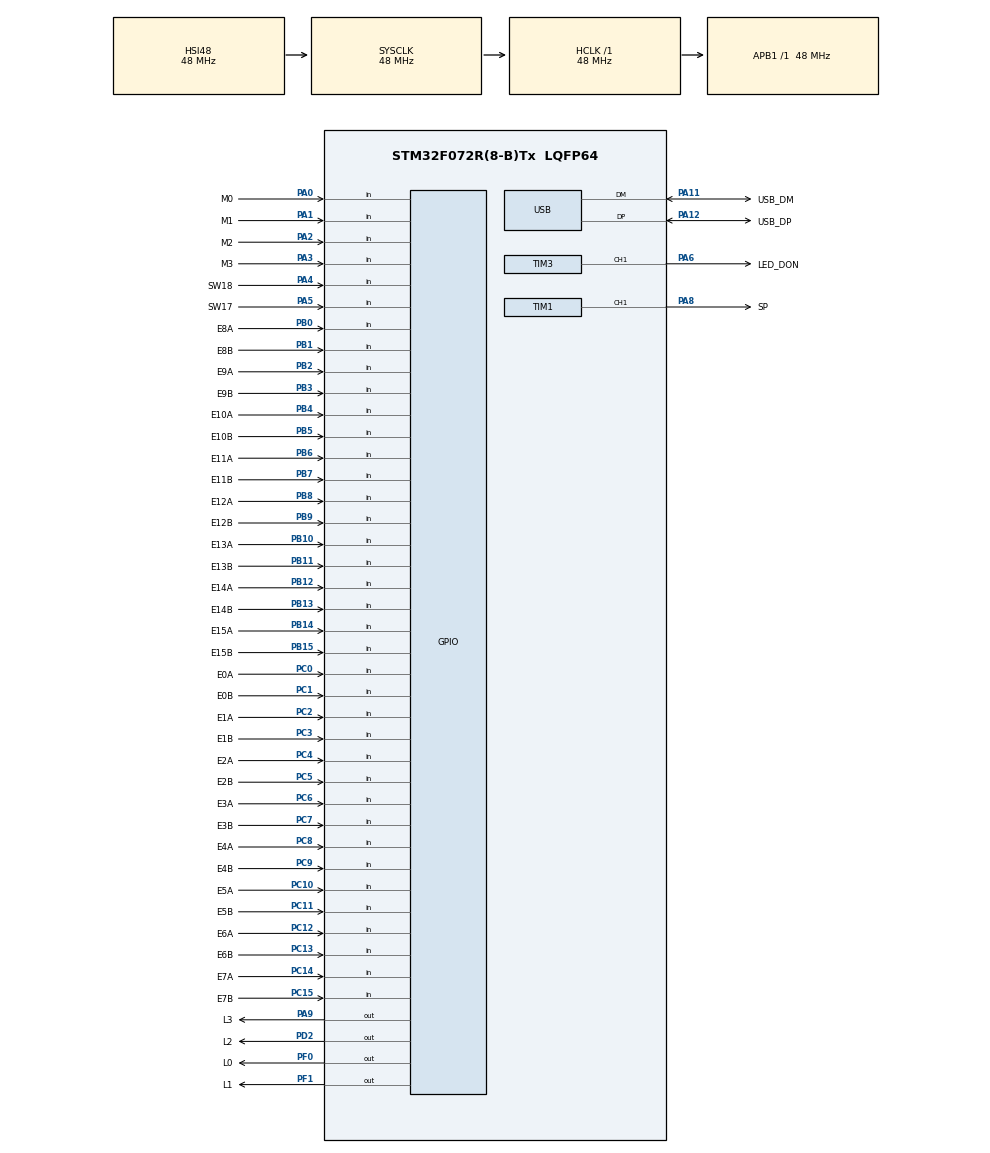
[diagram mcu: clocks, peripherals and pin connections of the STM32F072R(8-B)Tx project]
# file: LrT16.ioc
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Dma.Request0=TIM3_CH1/TRIG
Dma.TIM3_CH1/TRIG.0.Direction=DMA_MEMORY_TO_PERIPH
Dma.TIM3_CH1/TRIG.0.Instance=DMA1_Channel6
Dma.TIM3_CH1/TRIG.0.MemDataAlignment=DMA_MDATAALIGN_HALFWORD
Dma.TIM3_CH1/TRIG.0.MemInc=DMA_MINC_ENABLE
Dma.TIM3_CH1/TRIG.0.Mode=DMA_NORMAL
Dma.TIM3_CH1/TRIG.0.PeriphDataAlignment=DMA_PDATAALIGN_HALFWORD
Dma.TIM3_CH1/TRIG.0.PeriphInc=DMA_PINC_DISABLE
Dma.TIM3_CH1/TRIG.0.Priority=DMA_PRIORITY_LOW
Mcu.Family=STM32F0
Mcu.Name=STM32F072R(8-B)Tx
Mcu.Package=LQFP64
Mcu.UserConstants=TIM_PERIOD_NPIX,279;Lr_PRODUCT,"LrT16";PWM_HI,38;TIM_PERIOD_RGBLED,24576;PWM_LO,15;PWM_PERIOD,59;Lr_PID,0xB747;TIM_PERIOD_ENC,1600;TIM_PRESC_100uS,4799;Lr_VENDOR,"Ruffles Inc.";TIM_PRESC_1uS,47;TIM_PERIOD_MATRIX,7999;TIM_PERIOD_OLED,32767;TIM_PERIOD_SPEAKER,370; TIM_SPEAKER_PULSE_WIDTH,185
NVIC.DMA1_Channel4_5_6_7_IRQn=true\:0\:0\:false\:false\:true\:false\:true\:true
NVIC.TIM2_IRQn=true\:0\:0\:false\:false\:true\:true\:true\:true
NVIC.TIM6_DAC_IRQn=true\:0\:0\:false\:false\:true\:true\:true\:true
NVIC.TIM7_IRQn=true\:0\:0\:false\:false\:true\:true\:true\:true
NVIC.USB_IRQn=true\:0\:0\:false\:false\:true\:false\:true\:true
PA0.GPIO_Label=M0
PA0.Signal=GPIO_Input
PA1.GPIO_Label=M1
PA1.Signal=GPIO_Input
PA11.GPIO_Label=USB_DM
PA11.Mode=Device
PA11.Signal=USB_DM
PA12.GPIO_Label=USB_DP
PA12.Mode=Device
PA12.Signal=USB_DP
PA13.GPIO_Label=SWDIO
PA13.Mode=Serial_Wire
PA13.Signal=SYS_SWDIO
PA14.GPIO_Label=SWCLK
PA14.Mode=Serial_Wire
PA14.Signal=SYS_SWCLK
PA2.GPIO_Label=M2
PA2.Signal=GPIO_Input
PA3.GPIO_Label=M3
PA3.Signal=GPIO_Input
PA4.GPIO_Label=SW18
PA4.Signal=GPIO_Input
PA5.GPIO_Label=SW17
PA5.Signal=GPIO_Input
PA6.GPIO_Label=LED_DON
PA6.Signal=S_TIM3_CH1
PA8.GPIO_Label=SP
PA8.Signal=S_TIM1_CH1
PA9.GPIO_Label=L3
PA9.Signal=GPIO_Output
PB0.GPIO_Label=E8A
PB0.Signal=GPIO_Input
PB1.GPIO_Label=E8B
PB1.Signal=GPIO_Input
PB10.GPIO_Label=E13A
PB10.Signal=GPIO_Input
PB11.GPIO_Label=E13B
PB11.Signal=GPIO_Input
PB12.GPIO_Label=E14A
PB12.Signal=GPIO_Input
PB13.GPIO_Label=E14B
PB13.Signal=GPIO_Input
PB14.GPIO_Label=E15A
PB14.Signal=GPIO_Input
PB15.GPIO_Label=E15B
PB15.Signal=GPIO_Input
PB2.GPIO_Label=E9A
PB2.Signal=GPIO_Input
PB3.GPIO_Label=E9B
PB3.Signal=GPIO_Input
PB4.GPIO_Label=E10A
PB4.Signal=GPIO_Input
PB5.GPIO_Label=E10B
PB5.Signal=GPIO_Input
PB6.GPIO_Label=E11A
PB6.Signal=GPIO_Input
PB7.GPIO_Label=E11B
PB7.Signal=GPIO_Input
PB8.GPIO_Label=E12A
PB8.Signal=GPIO_Input
PB9.GPIO_Label=E12B
PB9.Signal=GPIO_Input
PC0.GPIO_Label=E0A
PC0.Signal=GPIO_Input
PC1.GPIO_Label=E0B
PC1.Signal=GPIO_Input
PC10.GPIO_Label=E5A
PC10.Signal=GPIO_Input
PC11.GPIO_Label=E5B
PC11.Signal=GPIO_Input
PC12.GPIO_Label=E6A
PC12.Signal=GPIO_Input
PC13.GPIO_Label=E6B
PC13.Signal=GPIO_Input
PC14-OSC32_IN.GPIO_Label=E7A
PC14-OSC32_IN.Signal=GPIO_Input
PC15-OSC32_OUT.GPIO_Label=E7B
PC15-OSC32_OUT.Signal=GPIO_Input
PC2.GPIO_Label=E1A
PC2.Signal=GPIO_Input
PC3.GPIO_Label=E1B
PC3.Signal=GPIO_Input
PC4.GPIO_Label=E2A
PC4.Signal=GPIO_Input
PC5.GPIO_Label=E2B
PC5.Signal=GPIO_Input
PC6.GPIO_Label=E3A
PC6.Signal=GPIO_Input
PC7.GPIO_Label=E3B
PC7.Signal=GPIO_Input
PC8.GPIO_Label=E4A
PC8.Signal=GPIO_Input
PC9.GPIO_Label=E4B
PC9.Signal=GPIO_Input
PD2.GPIO_Label=L2
PD2.Signal=GPIO_Output
PF0-OSC_IN.GPIO_Label=L0
PF0-OSC_IN.Signal=GPIO_Output
PF1-OSC_OUT.GPIO_Label=L1
PF1-OSC_OUT.Signal=GPIO_Output
ProjectManager.HeapSize=0x200
ProjectManager.StackSize=0x400
ProjectManager.TargetToolchain=STM32CubeIDE
RCC.AHBFreq_Value=48000000
RCC.APB1Freq_Value=48000000
RCC.APB1TimFreq_Value=48000000
RCC.FLatency=FLASH_LATENCY_1
RCC.HCLKFreq_Value=48000000
RCC.SYSCLKFreq_VALUE=48000000
RCC.SYSCLKSource=RCC_SYSCLKSOURCE_HSI48
SH.S_TIM1_CH1.0=TIM1_CH1,PWM Generation1 CH1
SH.S_TIM3_CH1.0=TIM3_CH1,PWM Generation1 CH1
TIM1.AutoReloadPreload=TIM_AUTORELOAD_PRELOAD_DISABLE
TIM1.Channel-PWM\ Generation1\ CH1=TIM_CHANNEL_1
TIM1.ClockDivision=TIM_CLOCKDIVISION_DIV1
TIM1.CounterMode=TIM_COUNTERMODE_UP
TIM1.Period=TIM_PERIOD_MATRIX
TIM1.Prescaler=TIM_PRESC_1uS
TIM1.RepetitionCounter=0
TIM1.TIM_MasterOutputTrigger=TIM_TRGO_RESET
TIM1.TIM_MasterSlaveMode=TIM_MASTERSLAVEMODE_DISABLE
TIM14.AutoReloadPreload=TIM_AUTORELOAD_PRELOAD_DISABLE
TIM14.ClockDivision=TIM_CLOCKDIVISION_DIV1
TIM14.CounterMode=TIM_COUNTERMODE_UP
TIM14.Period=TIM_PERIOD_NPIX
TIM14.Prescaler=TIM_PRESC_1uS
TIM2.AutoReloadPreload=TIM_AUTORELOAD_PRELOAD_DISABLE
TIM2.ClockDivision=TIM_CLOCKDIVISION_DIV1
TIM2.CounterMode=TIM_COUNTERMODE_UP
TIM2.Period=TIM_PERIOD_ENC
TIM2.Prescaler=TIM_PRESC_1uS
TIM2.TIM_MasterOutputTrigger=TIM_TRGO_RESET
TIM2.TIM_MasterSlaveMode=TIM_MASTERSLAVEMODE_DISABLE
TIM3.AutoReloadPreload=TIM_AUTORELOAD_PRELOAD_ENABLE
TIM3.Channel-PWM\ Generation1\ CH1=TIM_CHANNEL_1
TIM3.ClearInputSource=TIM_CLEARINPUTSOURCE_NONE
TIM3.ClockDivision=TIM_CLOCKDIVISION_DIV1
TIM3.CounterMode=TIM_COUNTERMODE_UP
TIM3.OC1Preload_PWM=ENABLE
TIM3.OCFastMode_PWM-PWM\ Generation1\ CH1=TIM_OCFAST_DISABLE
TIM3.OCMode_PWM-PWM\ Generation1\ CH1=TIM_OCMODE_PWM1
TIM3.OCPolarity_1=TIM_OCPOLARITY_LOW
TIM3.Period=PWM_PERIOD
TIM3.Prescaler=0
TIM3.Pulse-PWM\ Generation1\ CH1=0
TIM3.TIM_MasterOutputTrigger=TIM_TRGO_RESET
TIM3.TIM_MasterSlaveMode=TIM_MASTERSLAVEMODE_DISABLE
TIM6.AutoReloadPreload=TIM_AUTORELOAD_PRELOAD_DISABLE
TIM6.CounterMode=TIM_COUNTERMODE_UP
TIM6.Period=TIM_PERIOD_RGBLED
TIM6.Prescaler=TIM_PRESC_1uS
TIM6.TIM_MasterOutputTrigger=TIM_TRGO_RESET
TIM7.Period=TIM_PERIOD_ENC
TIM7.Prescaler=TIM_PRESC_1uS
USB.DeviceSpeed=PCD_SPEED_FULL
USB.low_power_enable=DISABLE
USB.lpm_enable=DISABLE
USB.phy_itface=PCD_PHY_EMBEDDED
USB_DEVICE.CLASS_NAME_FS=HID
USB_DEVICE.CONFIGURATION_STRING_HID_FS=MIDI Config
USB_DEVICE.HID_FS_BINTERVAL=0xA
USB_DEVICE.INTERFACE_STRING_HID_FS=MIDI Interface
USB_DEVICE.LANGID_STRING=1033
USB_DEVICE.MANUFACTURER_STRING=Lr_VENDOR
USB_DEVICE.PID_HID_FS=Lr_PID
USB_DEVICE.PRODUCT_STRING_HID_FS=Lr_PRODUCT
USB_DEVICE.USBD_DEBUG_LEVEL=0
USB_DEVICE.USBD_MAX_NUM_CONFIGURATION=1
USB_DEVICE.USBD_MAX_NUM_INTERFACES=1
USB_DEVICE.USBD_MAX_STR_DESC_SIZ=512
USB_DEVICE.USBD_SELF_POWERED=0
USB_DEVICE.USBD_SUPPORT_USER_STRING=0
USB_DEVICE.VID=1155
USB_DEVICE.VirtualMode=Hid
USB_DEVICE.VirtualModeFS=Hid_FS
VP_TIM14_VS_ClockSourceINT.Mode=Enable_Timer
VP_TIM1_VS_ClockSourceINT.Mode=Internal
VP_TIM2_VS_ClockSourceINT.Mode=Internal
VP_TIM3_VS_ClockSourceINT.Mode=Internal
VP_TIM6_VS_ClockSourceINT.Mode=Enable_Timer
VP_TIM7_VS_ClockSourceINT.Mode=Enable_Timer
VP_USB_DEVICE_VS_USB_DEVICE_HID_FS.Mode=HID_FS
board=custom

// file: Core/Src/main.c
/* USER CODE BEGIN Header */
/**
  ******************************************************************************
  * @file		main.c
  * @brief		Main program body
  * @author		remov-b4-flight
  * @copyright	3-Clause BSD License
  ******************************************************************************
  * @attention
  *
  * Copyright (c) 2026 STMicroelectronics.
  * All rights reserved.
  *
  * This software is licensed under terms that can be found in the LICENSE file
  * in the root directory of this software component.
  * If no LICENSE file comes with this software, it is provided AS-IS.
  *
  ******************************************************************************
  */
/* USER CODE END Header */
#include "main.h"
#include "usb_device.h"

/* USER CODE BEGIN Includes */
#include <stdbool.h>
#include "LrCommon.h"
#include "midi.h"
#include "led.h"
#include "speaker.h"
#include "bitcount.h"
#include "usbd_midi_if.h"
#include "EmulateMIDI.h"
#include "stm32f0xx_it.h"
#include "stm32f0xx_hal_dma.h"
/* USER CODE END Includes */

/* USER CODE BEGIN PM */
extern	uint8_t	LEDColor[LED_COUNT];
extern	uint8_t	LEDTimer[LED_COUNT];
extern	uint8_t SPEAKER_Timer;
extern	bool	SPEAKER_Timer_Enable;
/* USER CODE END PM */

TIM_HandleTypeDef htim1;
TIM_HandleTypeDef htim2;
TIM_HandleTypeDef htim3;
TIM_HandleTypeDef htim6;
TIM_HandleTypeDef htim7;
TIM_HandleTypeDef htim14;
DMA_HandleTypeDef hdma_tim3_ch1_trig;

/* USER CODE BEGIN PV */

//! STM32 TIM3 instance handle
TIM_HandleTypeDef htim3;
//! LrTMAX USB connection state
uint8_t	LrState;
//! LrTMAX Scene index
uint8_t	LrScene;
//! In key scanning whether Line selected to read for key matrix.
uint8_t	ENCSW_Line;
// OLED variables
//! Timer counter ticked by TIM6.
int32_t	Long_Timer_Count;
//! If true Msg_Timer counting is enabled.
bool	Long_Timer_Enable;
//! If true, Screen is cleared in main() that is determined on timer interrupt.
bool	Long_Timer_flag;
//! If true, frame_buffer[] contents flashes the screen.
static	bool	isRender;

//! LED variables
//! If true, LEDs are flashed by LEDColor[] array.
bool	isLEDsendpulse;
//! Flag is set by timer ISR, It makes LED_Timer[] count up in main()
bool	Soft_Timer_Update;

//! Scene time out
bool	isScene_Timeout;
//! LED patterns that set by switching scenes.
const uint8_t LED_Scene[SCENE_COUNT_MAX][LED_COUNT] = {
	//0			1			2			3			4			5			6			7
	{LED_BLUE,	LED_BLUE,	LED_BLUE,	LED_OFF,	LED_OFF,	LED_OFF,	LED_OFF,	LED_OFF	},	//Scene0(un-used)
	{LED_RED,	LED_BLUE,	LED_BLUE,	LED_OFF,	LED_OFF,	LED_OFF,	LED_OFF,	LED_OFF	},	//Scene1
	{LED_BLUE,	LED_RED,	LED_BLUE,	LED_OFF,	LED_OFF,	LED_OFF,	LED_OFF,	LED_OFF	},	//Scene2
	{LED_RED,	LED_RED,	LED_BLUE,	LED_OFF,	LED_OFF,	LED_OFF,	LED_OFF,	LED_OFF },	//Scene3
	{LED_BLUE,	LED_BLUE,	LED_RED,	LED_OFF,	LED_OFF,	LED_OFF,	LED_OFF,	LED_OFF	},	//Scene4
	{LED_RED,	LED_BLUE,	LED_RED,	LED_OFF,	LED_OFF,	LED_OFF,	LED_OFF,	LED_OFF	},	//Scene5
	{LED_BLUE,	LED_RED,	LED_RED,	LED_OFF,	LED_OFF,	LED_OFF,	LED_OFF,	LED_OFF },	//Scene6
	{LED_RED,	LED_RED,	LED_RED,	LED_OFF,	LED_OFF,	LED_OFF,	LED_OFF,	LED_OFF },	//Scene7
};

const uint16_t PlayTable[4] = {FREQ_D7, FREQ_E7, FREQ_F7, FREQ_G7};
/* USER CODE END PV */

void SystemClock_Config(void);
static void MX_GPIO_Init(void);
static void MX_DMA_Init(void);
static void MX_TIM3_Init(void);
static void MX_TIM1_Init(void);
static void MX_TIM14_Init(void);
static void MX_TIM6_Init(void);
static void MX_TIM2_Init(void);
static void MX_TIM7_Init(void);
/* USER CODE BEGIN PFP */
void Jump2SystemMemory();
/* USER CODE END PFP */

/* USER CODE BEGIN 0 */

/**
 *	@brief	Stop encoder scan
 */
static inline void Stop_All_Encoders() {
	HAL_TIM_Base_Stop_IT(&htim7);
}

/**
 * @brief	Start encoder scan by timer
 */
static inline void Start_All_Encoders() {
	ENC_Init();
	HAL_TIM_Base_Start_IT(&htim7);
}

/**
 * @brief Start OLED off timer
*/
void Start_LongTimer(uint32_t tick) {
	Long_Timer_flag = false;
	Long_Timer_Count = tick;
	Long_Timer_Enable = true;
}

/**
 * @brief start/stop matrix L0-L3 control
 * @param control Lr_MATRIX_START / Lr_MATRIX_STOP
 */
static void Matrix_Control(uint8_t control) {
	if (control == Lr_MATRIX_START) {
		MTRX_Init();
	}

	HAL_GPIO_WritePin(L0_GPIO_Port, L0_Pin, (control == Lr_MATRIX_START)? GPIO_PIN_SET : GPIO_PIN_RESET);
	HAL_GPIO_WritePin(L1_GPIO_Port, L1_Pin, GPIO_PIN_RESET);
	HAL_GPIO_WritePin(L2_GPIO_Port, L2_Pin, GPIO_PIN_RESET);
	HAL_GPIO_WritePin(L3_GPIO_Port, L3_Pin, GPIO_PIN_RESET);
	ENCSW_Line = L0;
}
/* USER CODE END 0 */

int main(void)
{

  /* USER CODE BEGIN 1 */
	//! Indicates 1st Msg_Timer timeout has occurred from power on reset.
	bool Msg_1st_timeout = true;
  /* USER CODE END 1 */

  /* MCU Configuration--------------------------------------------------------*/

  /* Reset of all peripherals, Initializes the Flash interface and the Systick. */
  HAL_Init();

  /* USER CODE BEGIN Init */
	Long_Timer_flag = false;
	Long_Timer_Enable = false;
	Long_Timer_Count = MSG_TIMER_DEFAULT;
	isRender = true;

	LrState = LR_RESET;
	LrScene = Lr_SCENE1;

	isLEDsendpulse = false;
	Soft_Timer_Update = false;
	isScene_Timeout = false;
  /* USER CODE END Init */

  /* Configure the system clock */
  SystemClock_Config();

  /* Initialize all configured peripherals */
  MX_GPIO_Init();
  MX_DMA_Init();
  MX_TIM3_Init();
  MX_TIM1_Init();
  MX_TIM14_Init();
/* USER CODE BEGIN MX_USB_Devive_Init LrTMAX*/
//  MX_USB_DEVICE_Init(); //must be delayed.
/* USER CODE END MX_USB_Devive_Init LrTMAX*/
  MX_TIM6_Init();
  MX_TIM2_Init();
  MX_TIM7_Init();
  /* USER CODE BEGIN 2 */
	// Set all LEDs to 'OFF'
	LED_Initialize();
	//
	SPEAKER_Initialize();
	// Stop All Encoders until USB link up
	Stop_All_Encoders();
	//Initialize Switch matrix
	Matrix_Control(Lr_MATRIX_STOP);		// Stop L0-L2

	// Initialize series of WS2812C
	GPIOA->PUPDR |= GPIO_PUPDR_PUPDR6_0;	// Pull up PA6 (WS2812C-2020 workaround)
	GPIOA->ODR |= GPIO_PIN_6;				//'RESET' state
	//AF -> GPIO
	GPIOA->MODER &= ~(GPIO_MODER_MODER6_1);
	GPIOA->MODER |=	GPIO_MODER_MODER6_0;

	// Set signal speed to SLOW for SPEAKER(PA8)
	GPIOA->OSPEEDR &= 0xFFF3FFFF;
  /* USER CODE END 2 */

  /* Infinite loop */
  /* USER CODE BEGIN WHILE */
	uint8_t	nc_count = 0;

	HAL_TIM_Base_Start_IT(&htim6);		//Start LED timer.
	Start_LongTimer(MSG_TIMER_DEFAULT);

	// Check SW17/PA5 and SW18/PA4 is pushed simultaneously at Power On
	uint16_t r = (~(GPIOA->IDR)) & BOOT_DFU_MASK;
	if (r == BOOT_DFU_MASK) { // MTD: define key combination
		LrState = LR_USB_DFU;
	} else {
		// MX_USB_DEVICE_Init() must be delayed until here for launch DFU.
		MX_USB_DEVICE_Init();
		LrState = LR_USB_NOLINK;
	}

	// Initialize CC Value table
	EmulateMIDI_Init();

	// LED Initialize
	LED_SetScene(LrScene);

	// Main loop
	while (1) {
		if (LrState == LR_USB_LINKUP) {
			// USB device configured by host

			Matrix_Control(Lr_MATRIX_START);	// Initialize L0-2.
			HAL_TIM_Base_Start_IT(&htim2);		// Start Switch matrix timer.
			Start_All_Encoders();				      // Start rotary encoder.

			// Show connection banner
			Start_LongTimer(MSG_TIMER_CONNECT);
			memcpy(LEDColor, LED_Scene[LrScene], LED_COUNT);

			uint8_t color;
			uint8_t ver_bits;
#ifdef DEBUG
			if (USBD_DEVICE_VER < 0x0100) {
				color = LED_DARK;
				ver_bits = (USBD_DEVICE_VER) & 0xFF;
			}else{
				color = LED_WHITE;
				ver_bits = (USBD_DEVICE_VER >> 4) & 0xFF;
			}
#else
			if (USBD_DEVICE_VER < 0x0100) {
				color = LED_GREEN;
				ver_bits = (USBD_DEVICE_VER) & 0xFF;
			}else{
				color = LED_ORANGE;
				ver_bits = (USBD_DEVICE_VER >> 4) & 0xFF;
			}
#endif

			for (uint8_t i = 0; i < LED_COUNT; i++) {
				LEDColor[i] = (ver_bits & (1<<i))? color : LED_OFF;
				LED_SetPulse(i, LEDColor[i], LED_PULSE_2S);
			}

			SPEAKER_PlaySound(FREQ_2700HZ,SPEAKER_TIMER_0R2S);
			LrState = LR_USB_LINKED;

		} else if (LrState == LR_USB_LINKED) {
			// Operate as MIDI Instruments.
			EmulateMIDI();
		} else if (LrState == LR_USB_LINK_LOST) {
			Stop_All_Encoders();

			HAL_TIM_Base_Stop(&htim2);
			Matrix_Control(Lr_MATRIX_STOP);		// Stop L0-L3

			SPEAKER_PlaySound(FREQ_D7,SPEAKER_TIMER_0R5S);
			LED_TestPattern();
			Msg_1st_timeout = false;
			Start_LongTimer(MSG_TIMER_DEFAULT);
			nc_count = 0;
			LrState = LR_USB_NOLINK;

		} else if (LrState == LR_USB_NOLINK) {
			// USB can't be configured or disconnected by host.
			if (Long_Timer_flag == true) {
				if (Msg_1st_timeout == true) {
					LrState = LR_USB_LINK_LOST;
				} else { // 2nd or more
					nc_count++;
					SPEAKER_PlaySound(PlayTable[(nc_count%6)], SPEAKER_TIMER_0R2S);
					// Restart OLED timer.
					Start_LongTimer(MSG_TIMER_NOLINK);

					// Rotate LED colors
					uint8_t	tempcolor = LEDColor[7];
					LEDColor[7] = LEDColor[6];
					LEDColor[6] = LEDColor[5];
					LEDColor[5] = LEDColor[4];
					LEDColor[4] = LEDColor[3];
					LEDColor[3] = LEDColor[2];
					LEDColor[2] = LEDColor[1];
					LEDColor[1] = LEDColor[0];
					LEDColor[0] = tempcolor;

					isLEDsendpulse = true;
				}
			}// Long_Timer_flag
		} else if (LrState == LR_USB_DFU) {
			if (Long_Timer_flag == true) {
				if (nc_count == 0) {
					// Play DFU sound
					SPEAKER_PlaySound(FREQ_E7,SPEAKER_TIMER_0R2S);
					nc_count++;
				} else if(nc_count == 1) {
					// Show LED pattern
					SPEAKER_PlaySound(FREQ_G7,SPEAKER_TIMER_0R2S);
					LED_TestPattern();
					nc_count++;
				} else if (nc_count <= 2) {
					LED_Initialize();
					// Jump to BOOTLOADER
					Jump2SystemMemory();
				}
				Start_LongTimer(MSG_TIMER_NOLINK/2);
			}

		}// LrState

		// Software Timers
		if (Soft_Timer_Update == true) { // 24ms interval
			// LED Timer
			for (uint8_t i = 0; i < LED_COUNT; i++) {
				if (LEDTimer[i] != LED_TIMER_CONSTANT && --LEDTimer[i] == 0) {
					LED_SetPulse(i, LED_Scene[LrScene][i], LED_TIMER_CONSTANT);
				}
			}
			// Speaker Timer
			if ( SPEAKER_Timer_Enable == true && (--SPEAKER_Timer) == SPEAKER_TIMER_STOP ) {
				SPEAKER_Stop();
			}
			// Long Timer
			if (Long_Timer_Enable == true && (--Long_Timer_Count) <= 0) {
				Long_Timer_Enable = false;
				Long_Timer_flag = true;
			}

			Soft_Timer_Update = false;
			continue;
		}

		// Flashing LEDs
		if (isLEDsendpulse == true) {
			if (LED_SendPulse() == true) {
				isLEDsendpulse = false;
			} else {
				HAL_Delay(LED_TIM_RETRY_WAIT);	// i2c is busy, retry with interval
			}
			continue;
		}

		HAL_PWR_EnterSLEEPMode(PWR_LOWPOWERREGULATOR_ON, PWR_SLEEPENTRY_WFI);

    /* USER CODE END WHILE */

  }
}

void SystemClock_Config(void)
{
  RCC_OscInitTypeDef RCC_OscInitStruct = {0};
  RCC_ClkInitTypeDef RCC_ClkInitStruct = {0};
  RCC_PeriphCLKInitTypeDef PeriphClkInit = {0};

  /** Initializes the RCC Oscillators according to the specified parameters
  * in the RCC_OscInitTypeDef structure.
  */
  RCC_OscInitStruct.OscillatorType = RCC_OSCILLATORTYPE_HSI48;
  RCC_OscInitStruct.HSI48State = RCC_HSI48_ON;
  RCC_OscInitStruct.PLL.PLLState = RCC_PLL_NONE;
  if (HAL_RCC_OscConfig(&RCC_OscInitStruct) != HAL_OK)
  {
    Error_Handler();
  }

  /** Initializes the CPU, AHB and APB buses clocks
  */
  RCC_ClkInitStruct.ClockType = RCC_CLOCKTYPE_HCLK|RCC_CLOCKTYPE_SYSCLK
                              |RCC_CLOCKTYPE_PCLK1;
  RCC_ClkInitStruct.SYSCLKSource = RCC_SYSCLKSOURCE_HSI48;
  RCC_ClkInitStruct.AHBCLKDivider = RCC_SYSCLK_DIV1;
  RCC_ClkInitStruct.APB1CLKDivider = RCC_HCLK_DIV1;

  if (HAL_RCC_ClockConfig(&RCC_ClkInitStruct, FLASH_LATENCY_1) != HAL_OK)
  {
    Error_Handler();
  }
  PeriphClkInit.PeriphClockSelection = RCC_PERIPHCLK_USB;
  PeriphClkInit.UsbClockSelection = RCC_USBCLKSOURCE_HSI48;

  if (HAL_RCCEx_PeriphCLKConfig(&PeriphClkInit) != HAL_OK)
  {
    Error_Handler();
  }
}

static void MX_TIM1_Init(void)
{

  TIM_ClockConfigTypeDef sClockSourceConfig = {0};
  TIM_MasterConfigTypeDef sMasterConfig = {0};
  TIM_OC_InitTypeDef sConfigOC = {0};
  TIM_BreakDeadTimeConfigTypeDef sBreakDeadTimeConfig = {0};

  htim1.Instance = TIM1;
  htim1.Init.Prescaler = TIM_PRESC_1uS;
  htim1.Init.CounterMode = TIM_COUNTERMODE_UP;
  htim1.Init.Period = TIM_PERIOD_SPEAKER;
  htim1.Init.ClockDivision = TIM_CLOCKDIVISION_DIV1;
  htim1.Init.RepetitionCounter = 0;
  htim1.Init.AutoReloadPreload = TIM_AUTORELOAD_PRELOAD_ENABLE;
  if (HAL_TIM_Base_Init(&htim1) != HAL_OK)
  {
    Error_Handler();
  }
  sClockSourceConfig.ClockSource = TIM_CLOCKSOURCE_INTERNAL;
  if (HAL_TIM_ConfigClockSource(&htim1, &sClockSourceConfig) != HAL_OK)
  {
    Error_Handler();
  }
  if (HAL_TIM_PWM_Init(&htim1) != HAL_OK)
  {
    Error_Handler();
  }
  sMasterConfig.MasterOutputTrigger = TIM_TRGO_RESET;
  sMasterConfig.MasterSlaveMode = TIM_MASTERSLAVEMODE_DISABLE;
  if (HAL_TIMEx_MasterConfigSynchronization(&htim1, &sMasterConfig) != HAL_OK)
  {
    Error_Handler();
  }
  sConfigOC.OCMode = TIM_OCMODE_PWM1;
  sConfigOC.Pulse = TIM_SPEAKER_PULSE_WIDTH;
  sConfigOC.OCPolarity = TIM_OCPOLARITY_HIGH;
  sConfigOC.OCNPolarity = TIM_OCNPOLARITY_HIGH;
  sConfigOC.OCFastMode = TIM_OCFAST_DISABLE;
  sConfigOC.OCIdleState = TIM_OCIDLESTATE_RESET;
  sConfigOC.OCNIdleState = TIM_OCNIDLESTATE_RESET;
  if (HAL_TIM_PWM_ConfigChannel(&htim1, &sConfigOC, TIM_CHANNEL_1) != HAL_OK)
  {
    Error_Handler();
  }
  sBreakDeadTimeConfig.OffStateRunMode = TIM_OSSR_DISABLE;
  sBreakDeadTimeConfig.OffStateIDLEMode = TIM_OSSI_DISABLE;
  sBreakDeadTimeConfig.LockLevel = TIM_LOCKLEVEL_OFF;
  sBreakDeadTimeConfig.DeadTime = 0;
  sBreakDeadTimeConfig.BreakState = TIM_BREAK_DISABLE;
  sBreakDeadTimeConfig.BreakPolarity = TIM_BREAKPOLARITY_HIGH;
  sBreakDeadTimeConfig.AutomaticOutput = TIM_AUTOMATICOUTPUT_DISABLE;
  if (HAL_TIMEx_ConfigBreakDeadTime(&htim1, &sBreakDeadTimeConfig) != HAL_OK)
  {
    Error_Handler();
  }
  HAL_TIM_MspPostInit(&htim1);

}

static void MX_TIM2_Init(void)
{

  TIM_ClockConfigTypeDef sClockSourceConfig = {0};
  TIM_MasterConfigTypeDef sMasterConfig = {0};

  htim2.Instance = TIM2;
  htim2.Init.Prescaler = TIM_PRESC_1uS;
  htim2.Init.CounterMode = TIM_COUNTERMODE_UP;
  htim2.Init.Period = TIM_PERIOD_ENC;
  htim2.Init.ClockDivision = TIM_CLOCKDIVISION_DIV1;
  htim2.Init.AutoReloadPreload = TIM_AUTORELOAD_PRELOAD_DISABLE;
  if (HAL_TIM_Base_Init(&htim2) != HAL_OK)
  {
    Error_Handler();
  }
  sClockSourceConfig.ClockSource = TIM_CLOCKSOURCE_INTERNAL;
  if (HAL_TIM_ConfigClockSource(&htim2, &sClockSourceConfig) != HAL_OK)
  {
    Error_Handler();
  }
  sMasterConfig.MasterOutputTrigger = TIM_TRGO_RESET;
  sMasterConfig.MasterSlaveMode = TIM_MASTERSLAVEMODE_DISABLE;
  if (HAL_TIMEx_MasterConfigSynchronization(&htim2, &sMasterConfig) != HAL_OK)
  {
    Error_Handler();
  }

}

static void MX_TIM3_Init(void)
{

  TIM_ClockConfigTypeDef sClockSourceConfig = {0};
  TIM_MasterConfigTypeDef sMasterConfig = {0};
  TIM_OC_InitTypeDef sConfigOC = {0};

  htim3.Instance = TIM3;
  htim3.Init.Prescaler = 0;
  htim3.Init.CounterMode = TIM_COUNTERMODE_UP;
  htim3.Init.Period = PWM_PERIOD;
  htim3.Init.ClockDivision = TIM_CLOCKDIVISION_DIV1;
  htim3.Init.AutoReloadPreload = TIM_AUTORELOAD_PRELOAD_ENABLE;
  if (HAL_TIM_Base_Init(&htim3) != HAL_OK)
  {
    Error_Handler();
  }
  sClockSourceConfig.ClockSource = TIM_CLOCKSOURCE_INTERNAL;
  if (HAL_TIM_ConfigClockSource(&htim3, &sClockSourceConfig) != HAL_OK)
  {
    Error_Handler();
  }
  if (HAL_TIM_PWM_Init(&htim3) != HAL_OK)
  {
    Error_Handler();
  }
  sMasterConfig.MasterOutputTrigger = TIM_TRGO_RESET;
  sMasterConfig.MasterSlaveMode = TIM_MASTERSLAVEMODE_DISABLE;
  if (HAL_TIMEx_MasterConfigSynchronization(&htim3, &sMasterConfig) != HAL_OK)
  {
    Error_Handler();
  }
  sConfigOC.OCMode = TIM_OCMODE_PWM1;
  sConfigOC.Pulse = 0;
  sConfigOC.OCPolarity = TIM_OCPOLARITY_LOW;
  sConfigOC.OCFastMode = TIM_OCFAST_DISABLE;
  if (HAL_TIM_PWM_ConfigChannel(&htim3, &sConfigOC, TIM_CHANNEL_1) != HAL_OK)
  {
    Error_Handler();
  }
  /* USER CODE BEGIN TIM3_Init 2 */
	__HAL_DMA_DISABLE_IT(&hdma_tim3_ch1_trig,(DMA_CCR_HTIE | DMA_CCR_TEIE));//Disable DMA1 half or error transfer interrupt(for LEDs).
  /* USER CODE END TIM3_Init 2 */
  HAL_TIM_MspPostInit(&htim3);

}

static void MX_TIM6_Init(void)
{

  TIM_MasterConfigTypeDef sMasterConfig = {0};

  htim6.Instance = TIM6;
  htim6.Init.Prescaler = TIM_PRESC_1uS;
  htim6.Init.CounterMode = TIM_COUNTERMODE_UP;
  htim6.Init.Period = TIM_PERIOD_RGBLED;
  htim6.Init.AutoReloadPreload = TIM_AUTORELOAD_PRELOAD_DISABLE;
  if (HAL_TIM_Base_Init(&htim6) != HAL_OK)
  {
    Error_Handler();
  }
  sMasterConfig.MasterOutputTrigger = TIM_TRGO_RESET;
  sMasterConfig.MasterSlaveMode = TIM_MASTERSLAVEMODE_DISABLE;
  if (HAL_TIMEx_MasterConfigSynchronization(&htim6, &sMasterConfig) != HAL_OK)
  {
    Error_Handler();
  }

}

static void MX_TIM7_Init(void)
{

  TIM_MasterConfigTypeDef sMasterConfig = {0};

  htim7.Instance = TIM7;
  htim7.Init.Prescaler = TIM_PRESC_1uS;
  htim7.Init.CounterMode = TIM_COUNTERMODE_UP;
  htim7.Init.Period = TIM_PERIOD_ENC;
  htim7.Init.AutoReloadPreload = TIM_AUTORELOAD_PRELOAD_DISABLE;
  if (HAL_TIM_Base_Init(&htim7) != HAL_OK)
  {
    Error_Handler();
  }
  sMasterConfig.MasterOutputTrigger = TIM_TRGO_RESET;
  sMasterConfig.MasterSlaveMode = TIM_MASTERSLAVEMODE_DISABLE;
  if (HAL_TIMEx_MasterConfigSynchronization(&htim7, &sMasterConfig) != HAL_OK)
  {
    Error_Handler();
  }

}

static void MX_TIM14_Init(void)
{

  htim14.Instance = TIM14;
  htim14.Init.Prescaler = TIM_PRESC_1uS;
  htim14.Init.CounterMode = TIM_COUNTERMODE_UP;
  htim14.Init.Period = TIM_PERIOD_NPIX;
  htim14.Init.ClockDivision = TIM_CLOCKDIVISION_DIV1;
  htim14.Init.AutoReloadPreload = TIM_AUTORELOAD_PRELOAD_DISABLE;
  if (HAL_TIM_Base_Init(&htim14) != HAL_OK)
  {
    Error_Handler();
  }
  /* USER CODE BEGIN TIM14_Init 2 */
  htim14.Instance->CR1 |= TIM_CR1_OPM;
  /* USER CODE END TIM14_Init 2 */

}

static void MX_DMA_Init(void)
{

  /* DMA controller clock enable */
  __HAL_RCC_DMA1_CLK_ENABLE();

  /* DMA interrupt init */
  /* DMA1_Channel4_5_6_7_IRQn interrupt configuration */
  HAL_NVIC_SetPriority(DMA1_Channel4_5_6_7_IRQn, 0, 0);
  HAL_NVIC_EnableIRQ(DMA1_Channel4_5_6_7_IRQn);

}

static void MX_GPIO_Init(void)
{
  GPIO_InitTypeDef GPIO_InitStruct = {0};

  /* GPIO Ports Clock Enable */
  __HAL_RCC_GPIOC_CLK_ENABLE();
  __HAL_RCC_GPIOF_CLK_ENABLE();
  __HAL_RCC_GPIOA_CLK_ENABLE();
  __HAL_RCC_GPIOB_CLK_ENABLE();
  __HAL_RCC_GPIOD_CLK_ENABLE();

  /*Configure GPIO pin Output Level */
  HAL_GPIO_WritePin(GPIOF, L0_Pin|L1_Pin, GPIO_PIN_RESET);

  /*Configure GPIO pin Output Level */
  HAL_GPIO_WritePin(L3_GPIO_Port, L3_Pin, GPIO_PIN_RESET);

  /*Configure GPIO pin Output Level */
  HAL_GPIO_WritePin(L2_GPIO_Port, L2_Pin, GPIO_PIN_RESET);

  /*Configure GPIO pins : E6B_Pin E7A_Pin E7B_Pin E0A_Pin
                           E0B_Pin E1A_Pin E1B_Pin E2A_Pin
                           E2B_Pin E3A_Pin E3B_Pin E4A_Pin
                           E4B_Pin E5A_Pin E5B_Pin E6A_Pin */
  GPIO_InitStruct.Pin = E6B_Pin|E7A_Pin|E7B_Pin|E0A_Pin
                          |E0B_Pin|E1A_Pin|E1B_Pin|E2A_Pin
                          |E2B_Pin|E3A_Pin|E3B_Pin|E4A_Pin
                          |E4B_Pin|E5A_Pin|E5B_Pin|E6A_Pin;
  GPIO_InitStruct.Mode = GPIO_MODE_INPUT;
  GPIO_InitStruct.Pull = GPIO_NOPULL;
  HAL_GPIO_Init(GPIOC, &GPIO_InitStruct);

  /*Configure GPIO pins : L0_Pin L1_Pin */
  GPIO_InitStruct.Pin = L0_Pin|L1_Pin;
  GPIO_InitStruct.Mode = GPIO_MODE_OUTPUT_PP;
  GPIO_InitStruct.Pull = GPIO_NOPULL;
  GPIO_InitStruct.Speed = GPIO_SPEED_FREQ_LOW;
  HAL_GPIO_Init(GPIOF, &GPIO_InitStruct);

  /*Configure GPIO pins : M0_Pin M1_Pin M2_Pin M3_Pin
                           SW18_Pin SW17_Pin */
  GPIO_InitStruct.Pin = M0_Pin|M1_Pin|M2_Pin|M3_Pin
                          |SW18_Pin|SW17_Pin;
  GPIO_InitStruct.Mode = GPIO_MODE_INPUT;
  GPIO_InitStruct.Pull = GPIO_NOPULL;
  HAL_GPIO_Init(GPIOA, &GPIO_InitStruct);

  /*Configure GPIO pins : E8A_Pin E8B_Pin E9A_Pin E13A_Pin
                           E13B_Pin E14A_Pin E14B_Pin E15A_Pin
                           E15B_Pin E9B_Pin E10A_Pin E10B_Pin
                           E11A_Pin E11B_Pin E12A_Pin E12B_Pin */
  GPIO_InitStruct.Pin = E8A_Pin|E8B_Pin|E9A_Pin|E13A_Pin
                          |E13B_Pin|E14A_Pin|E14B_Pin|E15A_Pin
                          |E15B_Pin|E9B_Pin|E10A_Pin|E10B_Pin
                          |E11A_Pin|E11B_Pin|E12A_Pin|E12B_Pin;
  GPIO_InitStruct.Mode = GPIO_MODE_INPUT;
  GPIO_InitStruct.Pull = GPIO_NOPULL;
  HAL_GPIO_Init(GPIOB, &GPIO_InitStruct);

  /*Configure GPIO pin : L3_Pin */
  GPIO_InitStruct.Pin = L3_Pin;
  GPIO_InitStruct.Mode = GPIO_MODE_OUTPUT_PP;
  GPIO_InitStruct.Pull = GPIO_NOPULL;
  GPIO_InitStruct.Speed = GPIO_SPEED_FREQ_LOW;
  HAL_GPIO_Init(L3_GPIO_Port, &GPIO_InitStruct);

  /*Configure GPIO pin : L2_Pin */
  GPIO_InitStruct.Pin = L2_Pin;
  GPIO_InitStruct.Mode = GPIO_MODE_OUTPUT_PP;
  GPIO_InitStruct.Pull = GPIO_NOPULL;
  GPIO_InitStruct.Speed = GPIO_SPEED_FREQ_LOW;
  HAL_GPIO_Init(L2_GPIO_Port, &GPIO_InitStruct);

}

void Error_Handler(void)
{
  __disable_irq();
  while (1)
  {
  }
}
